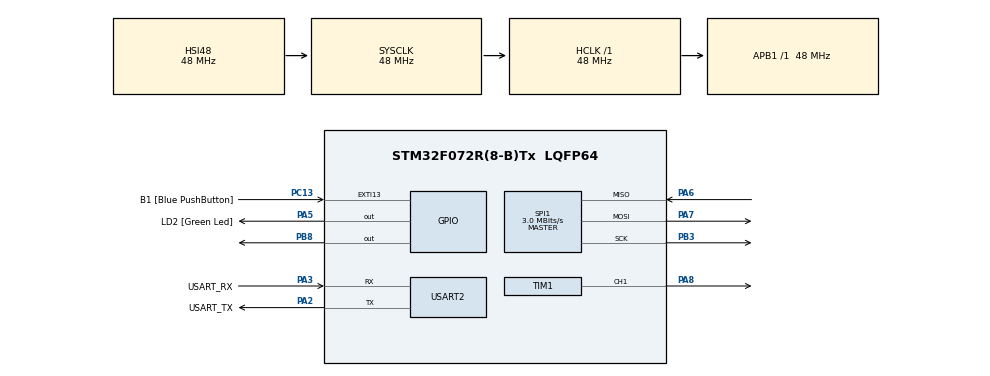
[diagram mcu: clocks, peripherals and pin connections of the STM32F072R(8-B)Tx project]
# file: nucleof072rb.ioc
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Mcu.Family=STM32F0
Mcu.Name=STM32F072R(8-B)Tx
Mcu.Package=LQFP64
PA13.GPIO_Label=TMS
PA13.Mode=Serial_Wire
PA13.Signal=SYS_SWDIO
PA14.GPIO_Label=TCK
PA14.Mode=Serial_Wire
PA14.Signal=SYS_SWCLK
PA2.GPIO_Label=USART_TX
PA2.GPIO_Mode=GPIO_MODE_AF_PP
PA2.GPIO_PuPd=GPIO_NOPULL
PA2.GPIO_Speed=GPIO_SPEED_FREQ_LOW
PA2.Mode=Asynchronous
PA2.Signal=USART2_TX
PA3.GPIO_Label=USART_RX
PA3.GPIO_Mode=GPIO_MODE_AF_PP
PA3.GPIO_PuPd=GPIO_NOPULL
PA3.GPIO_Speed=GPIO_SPEED_FREQ_LOW
PA3.Mode=Asynchronous
PA3.Signal=USART2_RX
PA5.GPIO_Label=LD2 [Green Led]
PA5.GPIO_Mode=GPIO_MODE_OUTPUT_PP
PA5.GPIO_PuPd=GPIO_NOPULL
PA5.GPIO_Speed=GPIO_SPEED_FREQ_LOW
PA5.Signal=GPIO_Output
PA6.Mode=Full_Duplex_Master
PA6.Signal=SPI1_MISO
PA7.Mode=Full_Duplex_Master
PA7.Signal=SPI1_MOSI
PA8.Signal=S_TIM1_CH1
PB3.Mode=Full_Duplex_Master
PB3.Signal=SPI1_SCK
PB8.Signal=GPIO_Output
PC13.GPIO_Label=B1 [Blue PushButton]
PC13.GPIO_ModeDefaultEXTI=GPIO_MODE_IT_FALLING
PC13.Signal=GPXTI13
PC14-OSC32_IN.Mode=LSE-External-Oscillator
PC14-OSC32_IN.Signal=RCC_OSC32_IN
PC15-OSC32_OUT.Mode=LSE-External-Oscillator
PC15-OSC32_OUT.Signal=RCC_OSC32_OUT
PF0-OSC_IN.Mode=HSE-External-Clock-Source
PF0-OSC_IN.Signal=RCC_OSC_IN
PF1-OSC_OUT.Signal=RCC_OSC_OUT
ProjectManager.HeapSize=0x200
ProjectManager.StackSize=0x400
ProjectManager.TargetToolchain=STM32CubeIDE
RCC.AHBFreq_Value=48000000
RCC.APB1Freq_Value=48000000
RCC.APB1TimFreq_Value=48000000
RCC.FLatency-AdvancedSettings=FLASH_LATENCY_1
RCC.HCLKFreq_Value=48000000
RCC.PLLDivider=RCC_PREDIV_DIV2
RCC.PLLMUL=RCC_PLL_MUL12
RCC.PREFETCH_ENABLE-AdvancedSettings=1
RCC.SYSCLKFreq_VALUE=48000000
RCC.SYSCLKSource=RCC_SYSCLKSOURCE_HSI48
SH.S_TIM1_CH1.0=TIM1_CH1,PWM Generation1 CH1
SPI1.BaudRatePrescaler=SPI_BAUDRATEPRESCALER_16
SPI1.CalculateBaudRate=3.0 MBits/s
SPI1.Direction=SPI_DIRECTION_2LINES
SPI1.FirstBit=SPI_FIRSTBIT_MSB
SPI1.Mode=SPI_MODE_MASTER
SPI1.VirtualType=VM_MASTER
TIM1.Channel-PWM\ Generation1\ CH1=TIM_CHANNEL_1
TIM1.Period=64000
TIM1.Prescaler=14
USART2.VirtualMode=VM_ASYNC
USART2.VirtualMode-Asynchronous=VM_ASYNC
VP_TIM1_VS_ClockSourceINT.Mode=Internal
board=NUCLEO-F072RB

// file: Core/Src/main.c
/* USER CODE BEGIN Header */
/**
  ******************************************************************************
  * @file           : main.c
  * @brief          : Main program body
  ******************************************************************************
  * @attention
  *
  * <h2><center>&copy; Copyright (c) 2021 STMicroelectronics.
  * All rights reserved.</center></h2>
  *
  * This software component is licensed by ST under BSD 3-Clause license,
  * the "License"; You may not use this file except in compliance with the
  * License. You may obtain a copy of the License at:
  *                        opensource.org/licenses/BSD-3-Clause
  *
  ******************************************************************************
  */
/* USER CODE END Header */
#include "main.h"
#include "spi.h"
#include "tim.h"
#include "usart.h"
#include "gpio.h"

/* USER CODE BEGIN Includes */
#include <stdbool.h>
/* USER CODE END Includes */

/* USER CODE BEGIN PD */
#define ADC_CS_GPIO_Port GPIOB
#define ADC_CS_Pin		 GPIO_PIN_8
#define MAX_ADC_COUNT 0x3FF
/* USER CODE END PD */

void SystemClock_Config(void);
/* USER CODE BEGIN PFP */
uint16_t ADC_ReadChannel(uint8_t channel, bool single_ended);
uint32_t ADC_output_to_PMW_counts(uint16_t ADC_output);
/* USER CODE END PFP */

int main(void)
{

  /* MCU Configuration--------------------------------------------------------*/

  /* Reset of all peripherals, Initializes the Flash interface and the Systick. */
  HAL_Init();

  /* Configure the system clock */
  SystemClock_Config();

  /* Initialize all configured peripherals */
  MX_GPIO_Init();
  MX_USART2_UART_Init();
  MX_SPI1_Init();
  MX_TIM1_Init();
  /* USER CODE BEGIN 2 */
  HAL_TIM_PWM_Start(&htim1, TIM_CHANNEL_1);  // Start the PMW
  HAL_GPIO_WritePin(ADC_CS_GPIO_Port, ADC_CS_Pin, GPIO_PIN_SET); // Set Chip select to high
  /* USER CODE END 2 */

  /* Infinite loop */
  /* USER CODE BEGIN WHILE */
  while (1)
  {

	  uint16_t adc_output = ADC_ReadChannel(0, true);
	  uint32_t pmw_counts = ADC_output_to_PMW_counts(adc_output);
	  __HAL_TIM_SET_COMPARE(&htim1, TIM_CHANNEL_1, pmw_counts);
	  HAL_Delay(10);
    /* USER CODE END WHILE */

  }
}

void SystemClock_Config(void)
{
  RCC_OscInitTypeDef RCC_OscInitStruct = {0};
  RCC_ClkInitTypeDef RCC_ClkInitStruct = {0};
  RCC_PeriphCLKInitTypeDef PeriphClkInit = {0};

  /** Initializes the RCC Oscillators according to the specified parameters
  * in the RCC_OscInitTypeDef structure.
  */
  RCC_OscInitStruct.OscillatorType = RCC_OSCILLATORTYPE_HSI48;
  RCC_OscInitStruct.HSI48State = RCC_HSI48_ON;
  RCC_OscInitStruct.PLL.PLLState = RCC_PLL_NONE;
  if (HAL_RCC_OscConfig(&RCC_OscInitStruct) != HAL_OK)
  {
    Error_Handler();
  }
  /** Initializes the CPU, AHB and APB buses clocks
  */
  RCC_ClkInitStruct.ClockType = RCC_CLOCKTYPE_HCLK|RCC_CLOCKTYPE_SYSCLK
                              |RCC_CLOCKTYPE_PCLK1;
  RCC_ClkInitStruct.SYSCLKSource = RCC_SYSCLKSOURCE_HSI48;
  RCC_ClkInitStruct.AHBCLKDivider = RCC_SYSCLK_DIV1;
  RCC_ClkInitStruct.APB1CLKDivider = RCC_HCLK_DIV1;

  if (HAL_RCC_ClockConfig(&RCC_ClkInitStruct, FLASH_LATENCY_1) != HAL_OK)
  {
    Error_Handler();
  }
  PeriphClkInit.PeriphClockSelection = RCC_PERIPHCLK_USART2;
  PeriphClkInit.Usart2ClockSelection = RCC_USART2CLKSOURCE_PCLK1;
  if (HAL_RCCEx_PeriphCLKConfig(&PeriphClkInit) != HAL_OK)
  {
    Error_Handler();
  }
}

/* USER CODE BEGIN 4 */
/**
  * @brief get ADC single-value or differential on a specific channel
  * @param[in]  channel: channel to read from
  * @param[in]  single_ended: single-ended or differential
  * @retval     : ADC value on specified channel and mode
  */
uint16_t ADC_ReadChannel(uint8_t channel, bool single_ended){
	HAL_StatusTypeDef status = HAL_OK;
	uint8_t tx[3], rx[3];
	tx[0] = 0x01;                 // Start bit
	tx[1] = (single_ended << 7)   // Single-ended bit
		  | ((channel & 0x07) << 4);  // Channel bits
	tx[2] = 0x00;

	HAL_GPIO_WritePin(ADC_CS_GPIO_Port, ADC_CS_Pin, GPIO_PIN_RESET);

	status = HAL_SPI_TransmitReceive(&hspi1, tx, rx, 3, 100);
	if (HAL_OK != status){
		;// handle errors
	}

	HAL_GPIO_WritePin(ADC_CS_GPIO_Port, ADC_CS_Pin, GPIO_PIN_SET);
	return (rx[1] & 0x03) << 8 | rx[2];
}

/**
  * @brief Convert ADC_output to number of counts for PMW
  * @param[in]   : the value outputed by the ADC
  * @retval None : the number of counts for the PMW
  */
uint32_t ADC_output_to_PMW_counts(uint16_t ADC_output){
	uint16_t PMW_min_count = __HAL_TIM_GET_AUTORELOAD(&htim1) / 20;
	uint16_t PMW_max_count = __HAL_TIM_GET_AUTORELOAD(&htim1) / 10;
	return ((uint32_t) ADC_output * (PMW_max_count - PMW_min_count) / MAX_ADC_COUNT) + PMW_min_count;
}
/* USER CODE END 4 */

void Error_Handler(void)
{
  __disable_irq();
  while (1)
  {
  }
}

/************************ (C) COPYRIGHT STMicroelectronics *****END OF FILE****/
